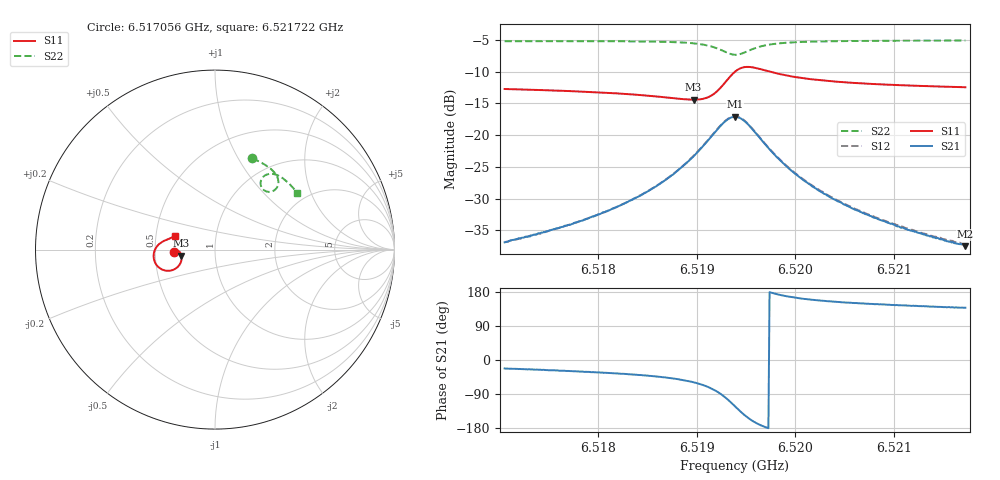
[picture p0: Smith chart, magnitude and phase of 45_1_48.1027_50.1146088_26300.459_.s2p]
#  HZ  S  RI  R  50.00
! Rohde & Schwarz Vector Network Analyzer
! Rohde-Schwarz,ZNB20-2Port,1311601062101988,3.16
! Created: UTC 12/23/2023, 3:39:11 AM
! freq[Hz]  re:S11  im:S11  re:S21  im:S21  re:S12  im:S12  re:S22  im:S22
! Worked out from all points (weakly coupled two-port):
!   401 points, 6.517056 GHz to 6.521722 GHz, reference 50 ohm
!   highest |S21| = -17.11 dB at 6.519389 GHz (marker M1); lowest = -37.5 dB at 6.521722 GHz (marker M2)
!   lowest |S11| = -14.4 dB at 6.518969 GHz (marker M3), VSWR 1.47, Z = 34.2 - j2.46 ohm
!   |S11| at or under -10 dB: start of sweep to 6.51939 GHz; 6.51974 GHz to end of sweep
!   |S22| runs from -7.3 to -5.1 dB; largest |S21 - S12| = 0.0042
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6.5170555e9  -0.2303 -0.0161  0.0133 -0.00542  0.0135 -0.00503  0.2076 0.5077
6.5174405e9  -0.2259 -0.0106  0.0153 -0.00749  0.0156 -0.00699  0.2362 0.4955
6.5178372e9  -0.2202 -0.00606  0.0183 -0.0108  0.0187 -0.0102  0.2655 0.4805
6.5183039e9  -0.2105 -0.00432  0.0237 -0.0181  0.0244 -0.0173  0.3005 0.4576
6.5186189e9  -0.2006 -0.00926  0.0293 -0.0287  0.0304 -0.0277  0.3251 0.4362
6.5187823e9  -0.1942 -0.0165  0.0329 -0.0384  0.0342 -0.0377  0.3379 0.4206
6.5189689e9  -0.1869 -0.0346  0.0353 -0.0582  0.0373 -0.0577  0.3503 0.3953
6.519074e9  -0.1864 -0.0536  0.0328 -0.0769  0.0352 -0.0764  0.3533 0.3744
6.5191673e9  -0.1938 -0.0782  0.022 -0.099  0.0251 -0.0991  0.3478 0.3512
6.5192956e9  -0.2376 -0.1144  -0.0223 -0.1277  -0.0188 -0.1292  0.3139 0.323
6.519389e9  -0.2959 -0.1105  -0.0745 -0.1179  -0.0717 -0.1211  0.2735 0.3308
6.5194356e9  -0.321 -0.0914  -0.0949 -0.0986  -0.0928 -0.1022  0.2594 0.3473
6.519494e9  -0.3386 -0.0596  -0.107 -0.0692  -0.1059 -0.0727  0.2538 0.3717
6.5195873e9  -0.339 -0.0135  -0.1022 -0.0295  -0.1023 -0.0326  0.266 0.4026
6.5196923e9  -0.323 0.0183  -0.0849 -0.00488  -0.0856 -0.00727  0.289 0.4183
6.5199257e9  -0.2899 0.0457  -0.0543 0.0119  -0.0551 0.0105  0.3306 0.4204
6.5201707e9  -0.2694 0.055  -0.0369 0.0142  -0.0379 0.0134  0.3592 0.4089
6.520369e9  -0.2589 0.0592  -0.0288 0.0138  -0.0297 0.0132  0.3771 0.398
6.520579e9  -0.2504 0.0626  -0.023 0.013  -0.0238 0.0125  0.393 0.3858
6.5209524e9  -0.24 0.068  -0.0168 0.0114  -0.0174 0.0111  0.4169 0.3635
6.5212907e9  -0.2327 0.0727  -0.0131 0.0103  -0.0135 0.0101  0.436 0.3431
6.5217224e9  -0.225 0.0785  -0.00993 0.00897  -0.0104 0.00897  0.4575 0.3163
